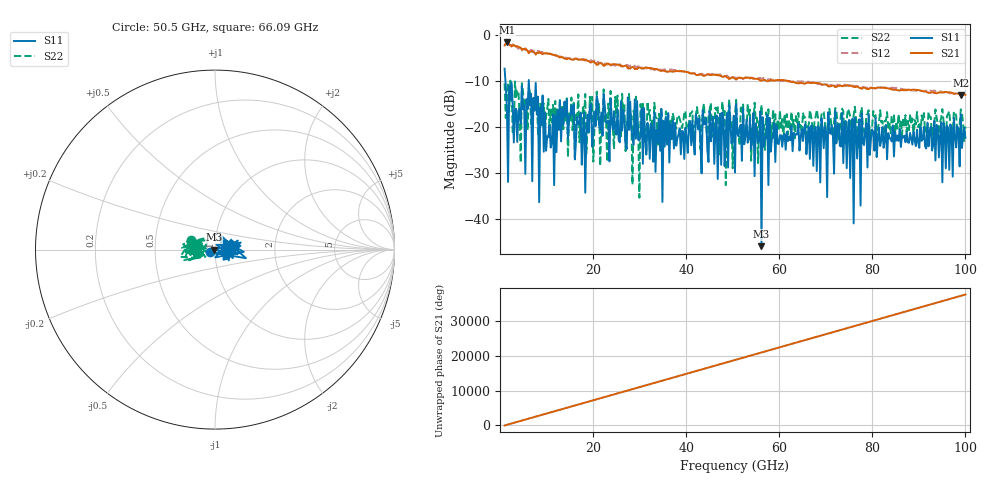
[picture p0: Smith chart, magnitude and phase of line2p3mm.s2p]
!Created with skrf (http://scikit-rf.org).
# GHz S RI R 50.0
!freq ReS11 ImS11 ReS21 ImS21 ReS12 ImS12 ReS22 ImS22
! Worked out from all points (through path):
!   401 points, 1 GHz to 100 GHz, reference 50 ohm
!   highest |S21| = -1.57 dB at 1.495 GHz (marker M1); lowest = -13.1 dB at 99.01 GHz (marker M2)
!   lowest |S11| = -45.8 dB at 56.19 GHz (marker M3), VSWR 1.01, Z = 49.5 - j0.0284 ohm
!   |S11| at or under -10 dB: 1.182 GHz to 6.187 GHz (5.005 GHz wide, 136 % of centre); 6.209 GHz to end of sweep
!   |S22| runs from -35.3 to -9.9 dB; largest |S21 - S12| = 0.1
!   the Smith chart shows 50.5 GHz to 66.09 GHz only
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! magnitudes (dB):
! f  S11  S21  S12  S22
! 1 GHz  -7.3  -2.3  -1.5  -10.5
! 1.495 GHz  -15.9  -1.6  -1.5  -14.7
! 3.475 GHz  -16.0  -2.4  -2.5  -13.4
! 7.683 GHz  -10.4  -4.2  -3.6  -13.6
! 8.92 GHz  -19.6  -3.9  -3.7  -14.5
! 9.168 GHz  -13.1  -4.2  -3.7  -16.7
! 11.15 GHz  -23.3  -4.2  -4.2  -18.9
! 13.87 GHz  -14.4  -5.1  -4.9  -14.8
! 17.58 GHz  -28.1  -5.3  -5.3  -23.7
! 18.08 GHz  -16.8  -5.4  -5.2  -17.8
! 20.8 GHz  -13.3  -6.5  -6.1  -12.3
! 34.16 GHz  -18.1  -7.6  -7.5  -17.1
! 50.5 GHz  -29.8  -9.5  -9.2  -17.0
! 55.45 GHz  -23.3  -9.5  -9.3  -27.8
! 55.7 GHz  -22.8  -9.7  -9.3  -18.1
! 56.19 GHz  -45.8  -9.8  -9.5  -15.1
! 56.69 GHz  -24.2  -9.7  -9.3  -19.5
! 56.94 GHz  -22.1  -9.8  -9.4  -24.9
! 67.08 GHz  -19.7  -10.4  -10.2  -19.5
! 83.67 GHz  -22.2  -11.6  -11.4  -19.2
! 99.01 GHz  -17.2  -13.1  -13.0  -16.1
! 100 GHz  -22.3  -13.0  -12.8  -19.8
